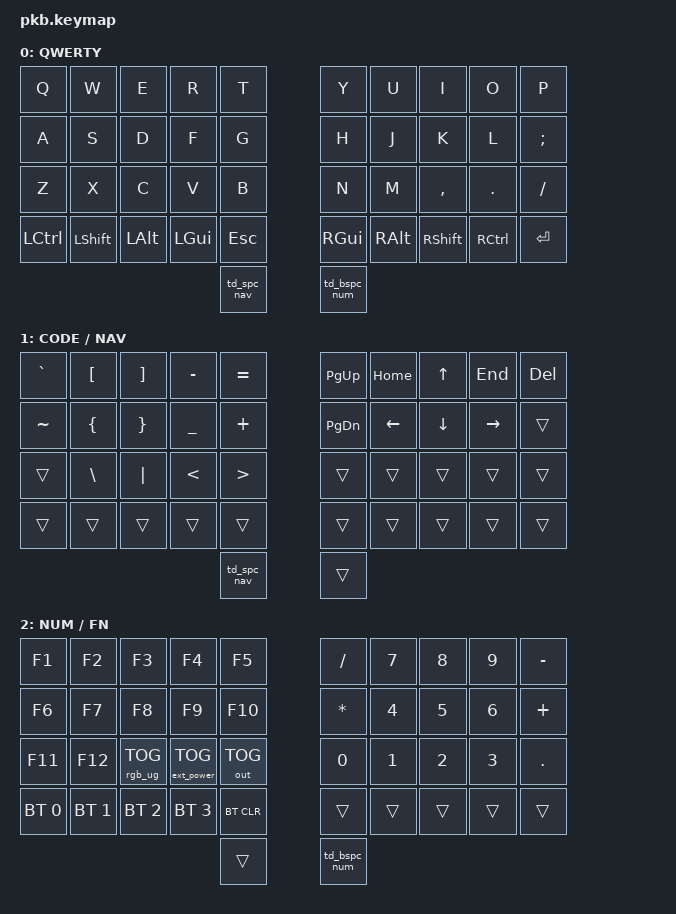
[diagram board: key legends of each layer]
// This file was generated from a template. Edit it to match your keyboard.
#include <behaviors.dtsi>
#include <dt-bindings/zmk/keys.h>
#include <dt-bindings/zmk/bt.h>
#include <dt-bindings/zmk/outputs.h>
#include <dt-bindings/zmk/rgb.h>
#include <dt-bindings/zmk/ext_power.h>

// Name your layers for the code
#define BASE 0
#define CODE_NAV 1
#define NUMPAD 2

/ {
    // 1. Define the Tap-Dance Behaviors
    behaviors {
        // Left Thumb: 1 Tap = Space, 2 Taps = Toggle Layer 1
        td_spc_nav: tap_dance_space_nav {
            compatible = "zmk,behavior-tap-dance";
            #binding-cells = <0>;
            tapping-term-ms = <200>;
            bindings = <&kp SPACE>, <&tog CODE_NAV>; 
        };

        // Right Thumb: 1 Tap = Backspace, 2 Taps = Toggle Layer 2
        td_bspc_num: tap_dance_bspc_num {
            compatible = "zmk,behavior-tap-dance";
            #binding-cells = <0>;
            tapping-term-ms = <200>;
            bindings = <&kp BSPC>, <&tog NUMPAD>; 
        };
    };

    // 2. The Keymap
    keymap {
        compatible = "zmk,keymap";

        base_layer {
            display-name = "QWERTY";
            bindings = <
            // Left Half                                   // Right Half
            &kp Q     &kp W     &kp E    &kp R    &kp T    &kp Y    &kp U    &kp I     &kp O   &kp P
            &kp A     &kp S     &kp D    &kp F    &kp G    &kp H    &kp J    &kp K     &kp L   &kp SEMI
            &kp Z     &kp X     &kp C    &kp V    &kp B    &kp N    &kp M    &kp COMMA &kp DOT &kp SLASH
            &kp LCTRL &kp LSHFT &kp LALT &kp LGUI &kp ESC  &kp RGUI &kp RALT &kp RSHFT &kp RCTRL &kp RET
            
            // Left Thumb                                  // Right Thumb
                                         &td_spc_nav                                &td_bspc_num
            >;
        };

        code_nav_layer {
            display-name = "CODE / NAV";
            bindings = <
            // Left Half: Brackets & Symbols               // Right Half: Arrows & Navigation
            &kp GRAVE &kp LBKT  &kp RBKT  &kp MINUS &kp EQUAL  &kp PG_UP &kp HOME &kp UP   &kp END   &kp DEL
            &kp TILDE &kp LBRC  &kp RBRC  &kp UNDER &kp PLUS   &kp PG_DN &kp LEFT &kp DOWN &kp RIGHT &trans
            &trans    &kp BSLH  &kp PIPE  &kp LT    &kp GT     &trans    &trans   &trans   &trans    &trans
            &trans    &trans    &trans    &trans    &trans     &trans    &trans   &trans   &trans    &trans
            
            // Left Thumb (Double-tap to turn off!)        // Right Thumb
                                         &td_spc_nav                                &trans
            >;
        };

        numpad_layer {
            display-name = "NUM / FN";
            bindings = <
            // Left Half: F-Keys & BT/Power Controls                          // Right Half: Numpad
            &kp F1       &kp F2       &kp F3       &kp F4       &kp F5        &kp SLASH &kp N7 &kp N8 &kp N9 &kp MINUS
            &kp F6       &kp F7       &kp F8       &kp F9       &kp F10       &kp STAR  &kp N4 &kp N5 &kp N6 &kp PLUS
            &kp F11      &kp F12      &rgb_ug RGB_TOG &ext_power EP_TOG &out OUT_TOG  &kp N0    &kp N1 &kp N2 &kp N3 &kp DOT
            &bt BT_SEL 0 &bt BT_SEL 1 &bt BT_SEL 2 &bt BT_SEL 3 &bt BT_CLR    &trans    &trans &trans &trans &trans
            
            // Left Thumb                                                     // Right Thumb (Double-tap to turn off!)
                                                   &trans                                      &td_bspc_num
            >;
        };
    };
};
